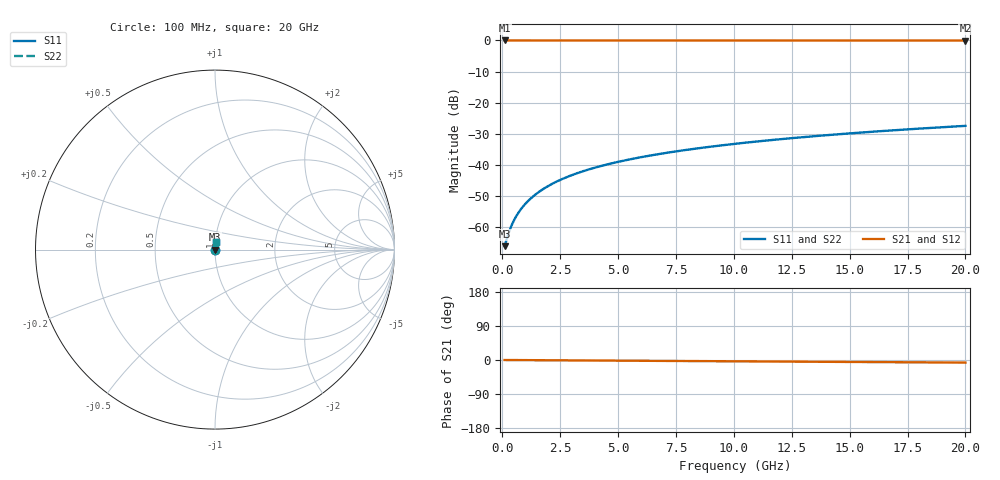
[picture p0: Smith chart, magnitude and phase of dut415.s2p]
! Touchstone file exported from HFSS 2026.1.0
!  File:  C:/ffzhzh/LocalFiles/Ansys_Project_Files/temp_train_TSV_415_1783020696_51716.aedt
!  Generated:  03:33:36 AM Jul  3, 2026
!  Design:  TSV
!  Project:  temp_train_TSV_415_1783020696_51716
! Variables:
!  h_bsmrdl = 2um
!  h_ox = 20um
!  h_rdl = 5um
!  h_sub = 63.71um
!  h_tmrdl = 5um
!  h_tsv = 63.71um
!  h_via = 3um
!  l_bsmrdl = 300um
!  l_sub = 408.56um
!  l_tmrdl = 200um
!  m_sub = 200um
!  pitch = 29.26um
!  r_tsv = 4.28um
!  s_tmrdl = 10um
!  w_bsmrdl = 18um
!  w_sub = 500um
!  w_tmrdl = 12um
!  x_tsv_center1 = 206um
!  x_tsv_center2 = 524um
!  x_tsv_center3 = 736um
!  x_tsv_center4 = 1054um
!  x_tsv_center5 = 1266um
!  x_tsv_center6 = 1584um
# GHz S MA R 50.000000
! Terminal data exported
! Port[1] = TSV1_1_T1
! Port[2] = TSV1_1_T2
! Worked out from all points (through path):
!   200 points, 100 MHz to 20 GHz, reference 50 ohm
!   highest |S21| = 0.00 dB at 100 MHz (marker M1); lowest = 0.0 dB at 20 GHz (marker M2)
!   lowest |S11| = -66.0 dB at 100 MHz (marker M3), VSWR 1.00, Z = 50 + j0.025 ohm
!   |S11| at or under -10 dB: start of sweep to end of sweep
!   |S22| runs from -66.0 to -27.4 dB; largest |S21 - S12| = 2.4e-15
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0.1  0.0004989 30.0  0.9996 -0.0  0.9996 -0.0  0.0004989 30.0
! Gamma 0 0 0 0
! Port Impedance 50 0 50 0
0.2  0.0006642 48.0  0.9996 -0.1  0.9996 -0.1  0.0006642 48.0
0.3  0.0008633 57.9  0.9995 -0.1  0.9995 -0.1  0.0008633 57.9
0.4  0.001074 63.8  0.9995 -0.1  0.9995 -0.1  0.001074 63.8
0.5  0.001288 67.8  0.9995 -0.2  0.9995 -0.2  0.001288 67.8
0.6  0.001506 70.7  0.9995 -0.2  0.9995 -0.2  0.001506 70.7
0.8  0.001947 74.6  0.9995 -0.3  0.9995 -0.3  0.001947 74.6
1  0.002394 77.0  0.9995 -0.4  0.9995 -0.4  0.002394 77.0
1.2  0.002843 78.6  0.9995 -0.4  0.9995 -0.4  0.002843 78.6
1.4  0.003294 79.8  0.9994 -0.5  0.9994 -0.5  0.003294 79.8
1.7  0.00397 81.0  0.9994 -0.6  0.9994 -0.6  0.00397 81.0
2.2  0.005096 82.1  0.9993 -0.8  0.9993 -0.8  0.005096 82.1
2.8  0.006438 82.8  0.9993 -1.0  0.9993 -1.0  0.006438 82.8
3.5  0.007987 83.1  0.9992 -1.2  0.9992 -1.2  0.007987 83.1
4.2  0.009519 83.2  0.9991 -1.5  0.9991 -1.5  0.009519 83.2
5  0.01125 83.3  0.999 -1.7  0.999 -1.7  0.01125 83.3
6.8  0.01509 83.2  0.9987 -2.4  0.9987 -2.4  0.01509 83.2
8.3  0.01825 83.0  0.9985 -2.9  0.9985 -2.9  0.01825 83.0
10.1  0.02202 82.7  0.9983 -3.5  0.9983 -3.5  0.02202 82.7
13.4  0.0289 82.1  0.9979 -4.6  0.9979 -4.6  0.0289 82.1
16.7  0.03575 81.3  0.9975 -5.7  0.9975 -5.7  0.03575 81.3
20  0.04255 80.4  0.997 -6.8  0.997 -6.8  0.04255 80.4
